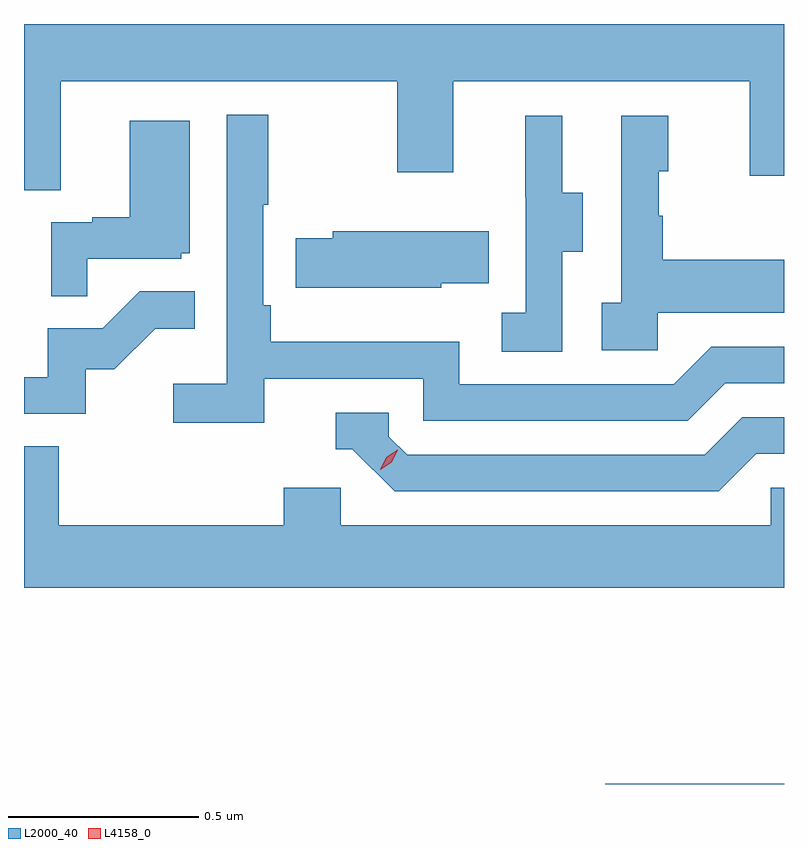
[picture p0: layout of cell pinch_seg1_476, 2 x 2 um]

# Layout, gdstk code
import gdstk
lib = gdstk.Library(unit=1e-6, precision=1e-09)
def R(c, l, rs):  # rectangles x0, y0, x1, y1
    for r in rs: c.add(gdstk.rectangle(r[:2], r[2:], *l))
def P(c, l, *ps):  # polygons
    for p in ps: c.add(gdstk.Polygon(p, *l))
L2000_40 = (2000, 40)
L4158_0 = (4158, 0)

pinch_seg1_476 = lib.new_cell('pinch_seg1_476')
R(pinch_seg1_476, L2000_40, [(987.995,513.919,988.466,513.92)])
P(pinch_seg1_476, L2000_40, [(986.563,515.768),(987.448,515.768),(987.448,515.529),(987.595,515.529),(987.595,515.768),(988.376,515.768),(988.376,515.52),(988.466,515.52),(988.466,515.919),(986.466,515.919),(986.466,515.482),(986.563,515.482)],
  [(987.098,514.986),(987.516,514.986),(987.516,514.875),(988.213,514.875),(988.312,514.974),(988.466,514.974),(988.466,515.07),(988.275,515.07),(988.176,514.971),(987.612,514.971),(987.612,515.083),(987.115,515.083),(987.115,515.179),(987.096,515.179),(987.096,515.443),(987.109,515.443),(987.109,515.68),(987,515.68),(987,514.972),(986.859,514.972),(986.859,514.87),(987.098,514.87)],
  [(988.134,515.159),(988.466,515.159),(988.466,515.299),(988.147,515.299),(988.147,515.414),(988.137,515.414),(988.137,515.532),(988.162,515.532),(988.162,515.677),(988.038,515.677),(988.038,515.186),(987.987,515.186),(987.987,515.061),(988.134,515.061)],
  [(987.882,515.32),(987.937,515.32),(987.937,515.475),(987.883,515.475),(987.883,515.677),(987.785,515.677),(987.785,515.463),(987.786,515.463),(987.786,515.159),(987.723,515.159),(987.723,515.056),(987.882,515.056)],
  [(986.633,515.301),(986.88,515.301),(986.88,515.316),(986.902,515.316),(986.902,515.665),(986.744,515.665),(986.744,515.41),(986.645,515.41),(986.645,515.397),(986.538,515.397),(986.538,515.203),(986.633,515.203)],
  [(987.564,515.237),(987.689,515.237),(987.689,515.374),(987.279,515.374),(987.279,515.355),(987.181,515.355),(987.181,515.225),(987.564,515.225)],
  [(986.628,515.01),(986.704,515.01),(986.811,515.117),(986.915,515.117),(986.915,515.216),(986.771,515.216),(986.673,515.118),(986.529,515.118),(986.529,514.989),(986.466,514.989),(986.466,514.893),(986.628,514.893)],
  [(988.393,514.788),(988.466,514.788),(988.466,514.884),(988.356,514.884),(988.257,514.785),(987.474,514.785),(987.426,514.833),(987.426,514.896),(987.287,514.896),(987.287,514.8),(987.33,514.8),(987.441,514.689),(988.294,514.689)],
  [(988.466,514.698),(988.431,514.698),(988.431,514.6),(987.3,514.6),(987.3,514.698),(987.149,514.698),(987.149,514.6),(986.558,514.6),(986.558,514.808),(986.466,514.808),(986.466,514.436),(988.466,514.436)])
P(pinch_seg1_476, L4158_0, [(987.403,514.746),(987.403,514.747),(987.419,514.779),(987.45,514.799),(987.45,514.799),(987.45,514.798),(987.434,514.766),(987.404,514.746)])

lib.write_gds('pinch_seg1_476.gds')
